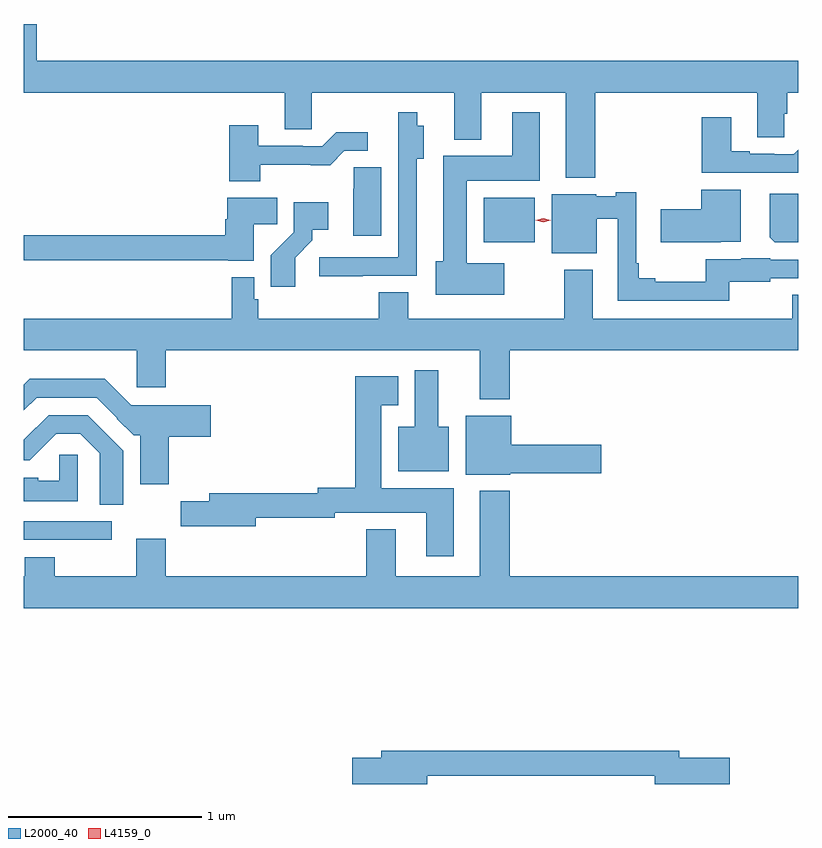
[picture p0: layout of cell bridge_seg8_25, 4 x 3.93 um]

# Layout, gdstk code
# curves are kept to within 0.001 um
import gdstk
lib = gdstk.Library(unit=1e-6, precision=1e-09)
def R(c, l, rs):  # rectangles x0, y0, x1, y1
    for r in rs: c.add(gdstk.rectangle(r[:2], r[2:], *l))
def P(c, l, *ps):  # polygons
    for p in ps: c.add(gdstk.Polygon(p, *l))
L2000_40 = (2000, 40)
L4159_0 = (4159, 0)

bridge_seg8_25 = lib.new_cell('bridge_seg8_25')
R(bridge_seg8_25, L2000_40, [(888.025,1124.844,888.478,1124.94), (890.402,1126.382,890.665,1126.612)])
P(bridge_seg8_25, L2000_40, [(890.978,1127.156),(891.815,1127.156),(891.815,1126.924),(891.954,1126.924),(891.954,1127.046),(891.968,1127.046),(891.968,1127.156),(892.025,1127.156),(892.025,1127.32),(888.092,1127.32),(888.092,1127.51),(888.025,1127.51),(888.025,1127.156),(889.373,1127.156),(889.373,1126.966),(889.512,1126.966),(889.512,1127.156),(890.249,1127.156),(890.249,1126.913),(890.389,1126.913),(890.389,1127.156),(890.825,1127.156),(890.825,1126.715),(890.978,1126.715)],
  [(889.775,1126.209),(890.056,1126.209),(890.056,1126.814),(890.092,1126.814),(890.092,1126.984),(890.057,1126.984),(890.057,1127.053),(889.958,1127.053),(889.958,1126.83),(889.959,1126.83),(889.959,1126.305),(889.551,1126.305),(889.551,1126.207),(889.775,1126.207)],
  [(890.506,1126.273),(890.314,1126.273),(890.314,1126.7),(890.689,1126.7),(890.689,1127.053),(890.549,1127.053),(890.549,1126.828),(890.192,1126.828),(890.192,1126.283),(890.153,1126.283),(890.153,1126.112),(890.506,1126.112)],
  [(892.025,1126.859),(892.002,1126.836),(891.902,1126.836),(891.902,1126.839),(891.775,1126.839),(891.775,1126.852),(891.679,1126.852),(891.679,1127.029),(891.527,1127.029),(891.527,1126.742),(892.025,1126.742)],
  [(889.245,1126.782),(889.607,1126.781),(889.68,1126.854),(889.801,1126.854),(889.801,1126.951),(889.639,1126.951),(889.566,1126.878),(889.466,1126.878),(889.466,1126.881),(889.237,1126.881),(889.237,1126.987),(889.085,1126.987),(889.085,1126.697),(889.245,1126.697)],
  [(889.87,1126.769),(889.728,1126.769),(889.728,1126.658),(889.727,1126.658),(889.727,1126.416),(889.87,1126.416)],
  [(891.626,1126.385),(891.73,1126.385),(891.73,1126.654),(891.524,1126.654),(891.524,1126.553),(891.315,1126.553),(891.315,1126.382),(891.626,1126.382)],
  [(891.67,1126.178),(891.882,1126.178),(891.882,1126.197),(892.025,1126.197),(892.025,1126.293),(891.882,1126.293),(891.882,1126.3),(891.732,1126.3),(891.732,1126.294),(891.549,1126.294),(891.549,1126.178),(891.286,1126.178),(891.286,1126.196),(891.202,1126.196),(891.202,1126.273),(891.189,1126.273),(891.189,1126.64),(891.084,1126.64),(891.084,1126.62),(890.982,1126.62),(890.982,1126.63),(890.753,1126.63),(890.753,1126.325),(890.986,1126.325),(890.986,1126.504),(891.093,1126.504),(891.093,1126.08),(891.67,1126.08)],
  [(892.025,1126.633),(891.878,1126.633),(891.878,1126.408),(891.904,1126.382),(892.025,1126.382)],
  [(889.213,1126.474),(889.334,1126.474),(889.334,1126.612),(889.076,1126.612),(889.076,1126.502),(889.064,1126.502),(889.064,1126.418),(888.025,1126.418),(888.025,1126.29),(889.08,1126.29),(889.08,1126.286),(889.213,1126.286)],
  [(889.426,1126.303),(889.516,1126.393),(889.516,1126.448),(889.597,1126.448),(889.597,1126.588),(889.419,1126.588),(889.419,1126.433),(889.3,1126.314),(889.3,1126.152),(889.426,1126.152)],
  [(890.534,1125.824),(892.025,1125.824),(892.025,1126.112),(891.994,1126.112),(891.994,1125.988),(890.965,1125.988),(890.965,1126.24),(890.818,1126.24),(890.818,1125.988),(890.011,1125.988),(890.011,1126.124),(889.859,1126.124),(889.859,1125.988),(889.235,1125.988),(889.235,1126.089),(889.215,1126.089),(889.215,1126.201),(889.099,1126.201),(889.099,1125.988),(888.025,1125.988),(888.025,1125.824),(888.607,1125.824),(888.607,1125.633),(888.758,1125.633),(888.758,1125.824),(890.381,1125.824),(890.381,1125.572),(890.534,1125.572)],
  [(890.221,1125.43),(890.167,1125.43),(890.167,1125.721),(890.045,1125.721),(890.045,1125.43),(889.958,1125.43),(889.958,1125.2),(890.221,1125.2)],
  [(890.245,1125.112),(889.87,1125.112),(889.87,1125.539),(889.96,1125.539),(889.96,1125.691),(889.736,1125.691),(889.736,1125.113),(889.542,1125.113),(889.542,1125.086),(888.983,1125.086),(888.983,1125.045),(888.834,1125.045),(888.834,1124.915),(889.222,1124.915),(889.222,1124.958),(889.632,1124.958),(889.632,1124.984),(890.105,1124.984),(890.105,1124.76),(890.245,1124.76)],
  [(888.773,1125.376),(888.991,1125.376),(888.991,1125.541),(888.579,1125.54),(888.443,1125.676),(888.055,1125.676),(888.025,1125.646),(888.025,1125.514),(888.09,1125.579),(888.402,1125.579),(888.507,1125.474),(888.504,1125.471),(888.592,1125.384),(888.626,1125.384),(888.626,1125.132),(888.773,1125.132)],
  [(888.538,1125.305),(888.355,1125.489),(888.152,1125.489),(888.025,1125.362),(888.025,1125.255),(888.054,1125.255),(888.192,1125.393),(888.315,1125.393),(888.417,1125.292),(888.417,1125.025),(888.538,1125.025)],
  [(890.538,1125.188),(891.007,1125.188),(891.007,1125.335),(890.542,1125.335),(890.542,1125.487),(890.309,1125.487),(890.309,1125.182),(890.538,1125.182)],
  [(888.302,1125.283),(888.208,1125.283),(888.208,1125.151),(888.099,1125.151),(888.099,1125.166),(888.025,1125.166),(888.025,1125.044),(888.302,1125.044)],
  [(892.025,1124.656),(890.534,1124.656),(890.534,1125.097),(890.381,1125.097),(890.381,1124.656),(889.945,1124.656),(889.945,1124.899),(889.793,1124.899),(889.793,1124.656),(888.758,1124.656),(888.758,1124.851),(888.605,1124.851),(888.605,1124.656),(888.183,1124.656),(888.183,1124.755),(888.028,1124.755),(888.028,1124.656),(888.025,1124.656),(888.025,1124.492),(892.025,1124.492)],
  [(890.11,1123.626),(891.284,1123.626),(891.284,1123.583),(891.673,1123.583),(891.673,1123.718),(891.412,1123.718),(891.412,1123.754),(889.871,1123.754),(889.871,1123.718),(889.722,1123.718),(889.722,1123.583),(890.11,1123.583)])
P(bridge_seg8_25, L4159_0, [(890.709,1126.486),(890.67,1126.496),(890.67,1126.496),(890.67,1126.496),(890.709,1126.506),(890.748,1126.496),(890.748,1126.496),(890.748,1126.496)])

lib.write_gds('bridge_seg8_25.gds')
